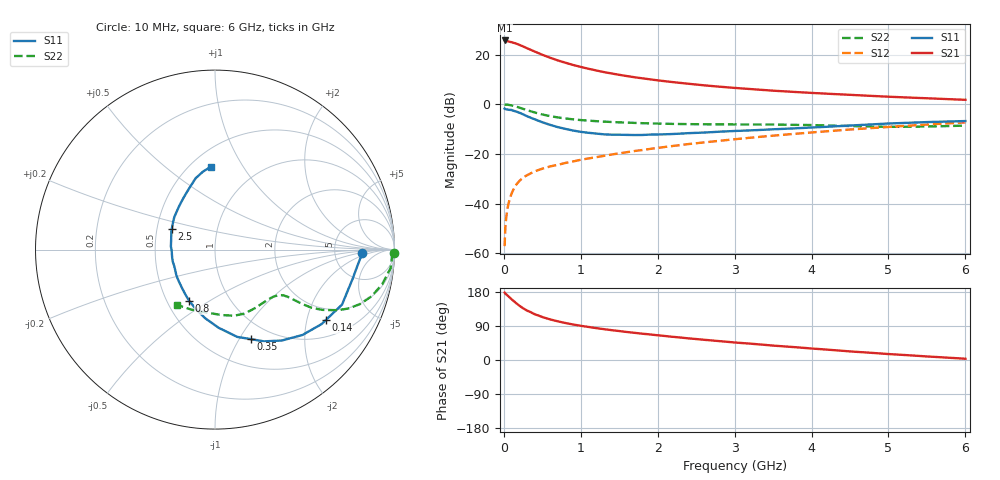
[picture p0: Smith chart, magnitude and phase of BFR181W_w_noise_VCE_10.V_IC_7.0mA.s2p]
! (c) 2017  Infineon Technologies AG, Munich
! Infineon Technologies  Discrete & RF Semiconductors
! BFR181W
! VCE =  10. V,  IC =  7.0 mA
! Common Emitter S-Parameters:  Jan 2017
# GHz  S  MA  R  50
!  f  S11  S21  S12  S22
! GHz  MAG  ANG  MAG  ANG  MAG  ANG  MAG  ANG
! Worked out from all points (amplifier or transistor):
!   77 points, 10 MHz to 6 GHz, reference 50 ohm
!   highest |S21| = 25.7 dB at 10 MHz (marker M1)
!   |S21| within 3 dB of that: start of sweep to 292.4 MHz
!   unconditionally stable (mu >= 1): 1.216 GHz to 3.251 GHz
!   at 130 MHz: K = 0.21, MSG = 29.3 dB, |S12| = -33.9 dB
!   at 2.2 GHz: K = 1.06, MAG = 11.3 dB, |S12| = -16.7 dB
!   at 6 GHz: K = 0.85, MSG = 4.5 dB, |S12| = -7.3 dB
!   lowest NFmin = 1.08 dB at 450 MHz
!   S11 on the Smith chart (normalised r, x): 10 MHz: 10, -1; 140 MHz: 1.54, -2.61; 350 MHz: 0.80, -1.12; 800 MHz: 0.65, -0.41; 2.5 GHz: 0.60, +0.15; 6 GHz: 0.62, +0.73
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0.01  0.8208 -1.4  19.29 177.8  0.0014 92.8  0.9956 -1.2
0.02  0.8007 -5.9  18.87 175.2  0.0034 90.0  0.9871 -2.1
0.04  0.7888 -9.8  18.66 171.6  0.0067 85.4  0.9845 -4.7
0.1  0.7712 -23.4  17.83 160.3  0.0159 79.4  0.9516 -11.7
0.14  0.7316 -32.5  17.06 153.5  0.0216 73.6  0.918 -15.6
0.2  0.681 -44.3  15.75 143.6  0.0285 70.6  0.8615 -20.7
0.25  0.6286 -53.7  14.64 136.5  0.0337 66.1  0.8126 -23.8
0.3  0.5796 -61.9  13.49 130.6  0.0373 63.1  0.7647 -26.2
0.35  0.5366 -68.3  12.48 126.1  0.041 61.9  0.7252 -27.7
0.4  0.5016 -75.8  11.57 120.8  0.0448 60.9  0.6862 -29.3
0.5  0.4363 -87.3  9.938 113.4  0.0507 59.0  0.6255 -31.1
0.6  0.3868 -98.0  8.684 107.2  0.0563 58.5  0.5801 -31.8
0.7  0.3487 -107.6  7.666 102.1  0.0607 59.4  0.5455 -32.2
0.8  0.3207 -116.5  6.873 97.6  0.0662 60.0  0.5197 -32.5
1.1  0.2675 -139.3  5.199 87.2  0.0815 61.5  0.4699 -33.4
1.6  0.2427 -169.9  3.703 73.9  0.109 63.2  0.4295 -36.7
2.1  0.2498 168.2  2.916 63.2  0.1391 63.6  0.407 -42.9
2.5  0.2666 154.7  2.504 55.3  0.1649 63.1  0.3983 -49.2
3.1  0.2947 138.5  2.087 44.7  0.2053 60.9  0.3931 -58.9
4.1  0.3477 118.4  1.668 28.9  0.2793 55.5  0.3791 -75.9
5.1  0.4168 103.9  1.403 14.5  0.3587 47.7  0.353 -100.3
6  0.4612 93.1  1.233 3.3  0.4328 39.6  0.3741 -124.5
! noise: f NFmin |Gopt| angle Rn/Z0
0.45  1.08  0.24  17  0.22
0.9  1.13  0.22  31  0.21
1.9  1.55  0.09  86  0.19
2.4  1.7  0.08  96  0.23
